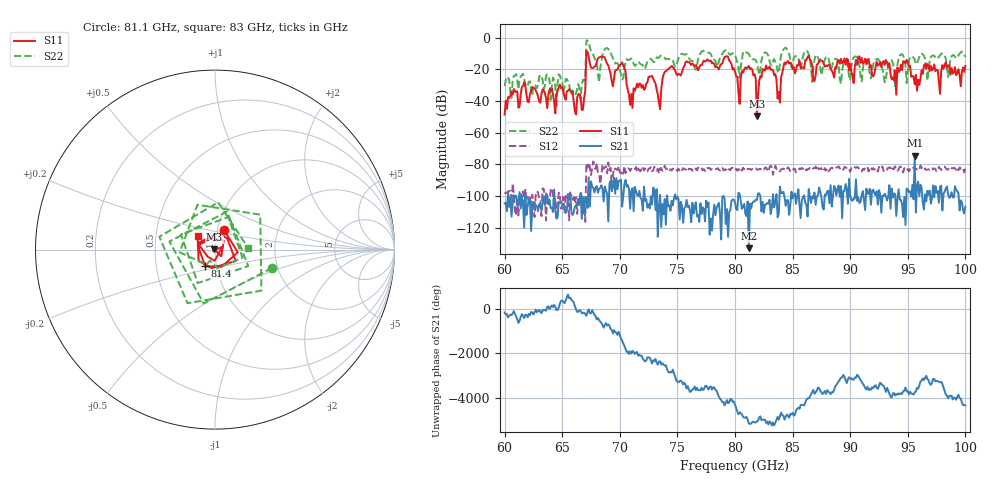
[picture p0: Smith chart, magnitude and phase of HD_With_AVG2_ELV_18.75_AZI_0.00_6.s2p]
! 11/25/2026 10:12:34 AM
! C:\ANRITSUVNA\TEMP\TEMP.S2P
! CHANNEL.1
! TR.MEASUREMENT
! RAW.DATA
# HZ S RI R 50.0
! FREQ.HZ  S11RE  S11IM  S21RE  S21IM  S12RE  S12IM  S22RE  S22IM
!; PortSelection: Port_12
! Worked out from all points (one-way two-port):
!   401 points, 60 GHz to 100 GHz, reference 50 ohm
!   highest |S21| = -74.58 dB at 95.6 GHz (marker M1); lowest = -133.0 dB at 81.2 GHz (marker M2)
!   lowest |S11| = -49.8 dB at 81.9 GHz (marker M3), VSWR 1.01, Z = 49.7 + j0.083 ohm
!   |S11| at or under -10 dB: start of sweep to 67.09 GHz; 67.23 GHz to end of sweep
!   |S22| runs from -42.8 to -1.7 dB; largest |S21 - S12| = 0.00026
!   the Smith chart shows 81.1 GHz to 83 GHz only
!   S11 on the Smith chart (normalised r, x): 81.1 GHz: 1.08, +0.24; 81.4 GHz: 0.88, -0.17; 83 GHz: 0.82, +0.12
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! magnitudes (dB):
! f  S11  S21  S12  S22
! 60 GHz  -48.6  -104.7  -98.6  -30.5
! 61.6 GHz  -30.6  -105.2  -97.1  -22.8
! 66.7 GHz  -45.7  -114.4  -101.0  -29.5
! 67.3 GHz  -12.1  -88.2  -78.9  -3.2
! 68.4 GHz  -11.8  -93.2  -86.9  -14.7
! 70.3 GHz  -17.5  -100.2  -85.4  -25.5
! 70.9 GHz  -42.5  -108.1  -84.2  -13.5
! 72.7 GHz  -24.4  -100.2  -81.7  -13.3
! 73.4 GHz  -41.1  -105.7  -85.8  -12.6
! 74.4 GHz  -18.6  -109.4  -83.1  -13.4
! 80 GHz  -21.2  -104.0  -83.7  -11.1
! 81.1 GHz  -18.4  -103.4  -82.8  -9.5
! 81.2 GHz  -17.9  -133.0  -82.9  -10.3
! 81.4 GHz  -19.3  -107.9  -83.5  -13.1
! 81.9 GHz  -49.8  -102.5  -83.3  -15.9
! 83 GHz  -18.3  -102.4  -81.7  -14.6
! 83.8 GHz  -34.2  -111.3  -83.8  -22.3
! 84.4 GHz  -16.7  -106.1  -83.8  -6.2
! 86.7 GHz  -17.5  -100.1  -83.0  -28.0
! 93.4 GHz  -16.3  -93.2  -82.1  -15.6
! 95.6 GHz  -29.4  -74.6  -82.0  -13.8
! 100 GHz  -17.9  -106.7  -82.6  -12.1
